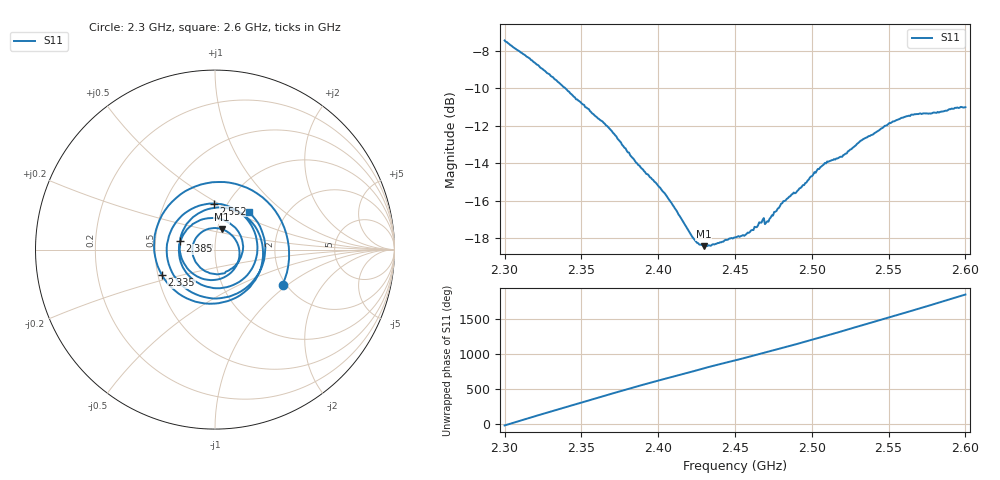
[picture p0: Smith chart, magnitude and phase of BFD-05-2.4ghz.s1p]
! NanoVNA-App
! Date: 2026-05-22 18:17:50
! Start: 2.3GHz Stop: 2.6GHz Points: 401
! S-Parameter data: F S11
# Hz S RI R 50
!  Frequency  S11_Real  S11_Imag
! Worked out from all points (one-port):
!   401 points, 2.3 GHz to 2.6 GHz, reference 50 ohm
!   lowest |S11| = -18.4 dB at 2.43 GHz (marker M1), VSWR 1.27, Z = 52.5 + j12.1 ohm
!   |S11| at or under -10 dB: 2.34 GHz to end of sweep
!   S11 on the Smith chart (normalised r, x): 2.3 GHz: 1.92, -0.92; 2.335 GHz: 0.53, -0.17; 2.385 GHz: 0.67, +0.06; 2.552 GHz: 0.87, +0.48; 2.6 GHz: 1.32, +0.60
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2.3e9  0.3768 -0.1967
2.3075e9  0.3714 0.1558
2.3165e9  0.052 0.3764
2.32625e9  -0.2954 0.1923
2.33525e9  -0.2954 -0.1428
2.3375e9  -0.2448 -0.2089
2.3465e9  0.0491 -0.2918
2.357e9  0.2644 -0.0606
2.36675e9  0.1644 0.1896
2.375e9  -0.0422 0.2246
2.3855e9  -0.1952 0.0458
2.399e9  -0.0627 -0.1642
2.4125e9  0.1243 -0.0795
2.42975e9  0.0378 0.1136
2.45e9  -0.126 -0.00913
2.46725e9  0.0322 -0.1346
2.4785e9  0.1485 -0.03
2.4875e9  0.1222 0.1111
2.498e9  -0.053 0.1724
2.50925e9  -0.1988 0.0142
2.525e9  0.0286 -0.2152
2.5385e9  0.2365 0.0172
2.552e9  -0.00613 0.2565
2.5625e9  -0.2495 0.0943
2.57075e9  -0.2297 -0.1441
2.5805e9  0.0332 -0.2703
2.591e9  0.2729 -0.0593
2.6e9  0.1899 0.2082
